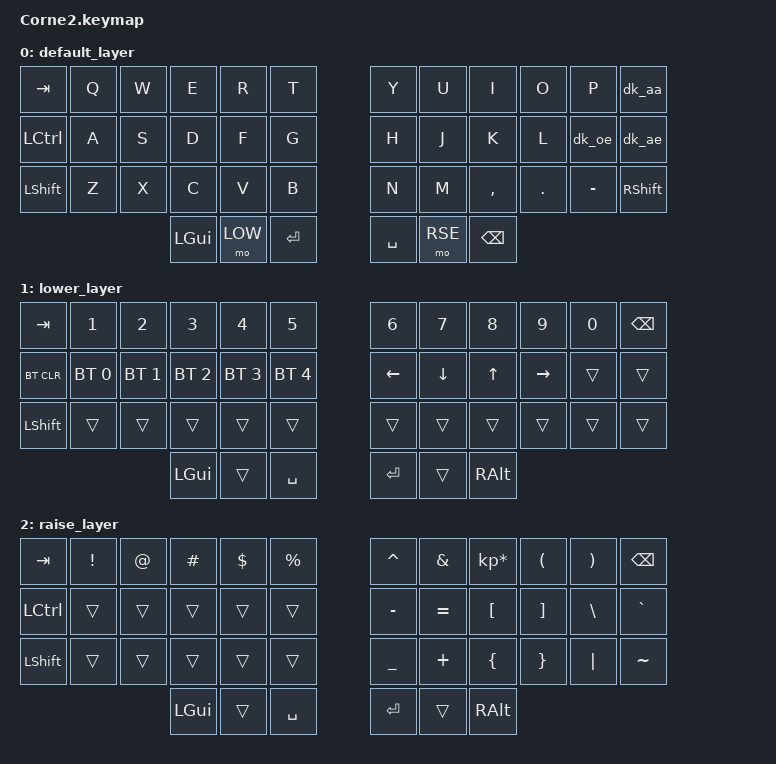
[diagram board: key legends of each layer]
/*
 * Copyright (c) 2020 The ZMK Contributors
 *
 * SPDX-License-Identifier: MIT
 */

#include <behaviors.dtsi>
#include <dt-bindings/zmk/keys.h>
#include <dt-bindings/zmk/bt.h>

/ {
        keymap {
                compatible = "zmk,keymap";

                default_layer {

                        bindings = <
 // |---------|---------|---------|---------|---------|---------|----|---------|---------|---------|---------|---------|---------|
// |   TAB   |   Q     |   W     |   E     |   T     |   T     |    |   Y     |   U     |   I     |   O     |   P     |   Å     |
   &kp TAB   &kp Q     &kp W     &kp E     &kp R     &kp T          &kp Y     &kp U     &kp I     &kp O     &kp P     &dk_aa
// |    CTRL |   A     |   S     |   D     |   F     |   G     |    |   H     |   J     |   K     |   L     |   Ø     |   Æ     |
   &kp LCTRL &kp A     &kp S     &kp D     &kp F     &kp G          &kp H     &kp J     &kp K     &kp L     &dk_oe    &dk_ae
// |    SHFT |   Z     |   X     |   C     |   V     |   B     |    |   N     |   M     |   ,     |   .     |   -     |   RSHFT |
   &kp LSHFT &kp Z     &kp X     &kp C     &kp V     &kp B          &kp N     &kp M     &kp COMMA &kp DOT   &kp MINUS &kp RSHFT
//                    |    GUI |       |   ENT |   |    SPC  |       |   BSPC |
                      &kp LGUI &mo LOW &kp RET     &kp SPACE &mo RSE &kp BSPC
                        >;
                };
                lower_layer {
// -----------------------------------------------------------------------------------------
// |  TAB |  1  |  2  |  3  |  4  |  5  |   |  6  |  7  |  8  |  9  |  0  | BKSP |
// | BTCLR| BT1 | BT2 | BT3 | BT4 | BT5 |   | LFT | DWN |  UP | RGT |     |      |
// | SHFT |     |     |     |     |     |   |     |     |     |     |     |      |
//                    | GUI |     | SPC |   | ENT |     | ALT |
                        bindings = <
   &kp TAB    &kp N1       &kp N2       &kp N3       &kp N4       &kp N5         &kp N6   &kp N7   &kp N8 &kp N9    &kp N0 &kp BSPC
   &bt BT_CLR &bt BT_SEL 0 &bt BT_SEL 1 &bt BT_SEL 2 &bt BT_SEL 3 &bt BT_SEL 4   &kp LEFT &kp DOWN &kp UP &kp RIGHT &trans &trans
   &kp LSHFT  &trans       &trans       &trans       &trans       &trans         &trans   &trans   &trans &trans    &trans &trans
                                    &kp LGUI     &trans       &kp SPACE      &kp RET  &trans   &kp RALT
                        >;
                };

                raise_layer {
// -----------------------------------------------------------------------------------------
// |  TAB |  !  |  @  |  #  |  $  |  %  |   |  ^  |  &  |  *  |  (  |  )  | BKSP |
// | CTRL |     |     |     |     |     |   |  -  |  =  |  [  |  ]  |  \  |  `   |
// | SHFT |     |     |     |     |     |   |  _  |  +  |  {  |  }  | "|" |  ~   |
//                    | GUI |     | SPC |   | ENT |     | ALT |
                        bindings = <
   &kp  TAB  &kp EXCL &kp AT &kp HASH &kp DLLR &kp PRCNT   &kp CARET &kp AMPS  &kp KP_MULTIPLY &kp LPAR &kp RPAR &kp BSPC
   &kp LCTRL &trans   &trans &trans   &trans   &trans      &kp MINUS &kp EQUAL &kp LBKT        &kp RBKT &kp BSLH &kp GRAVE
   &kp LSHFT &trans   &trans &trans   &trans   &trans      &kp UNDER &kp PLUS  &kp LBRC        &kp RBRC &kp PIPE &kp TILDE
                             &kp LGUI &trans   &kp SPACE   &kp RET   &trans    &kp RALT
                        >;
                };
        };
};
